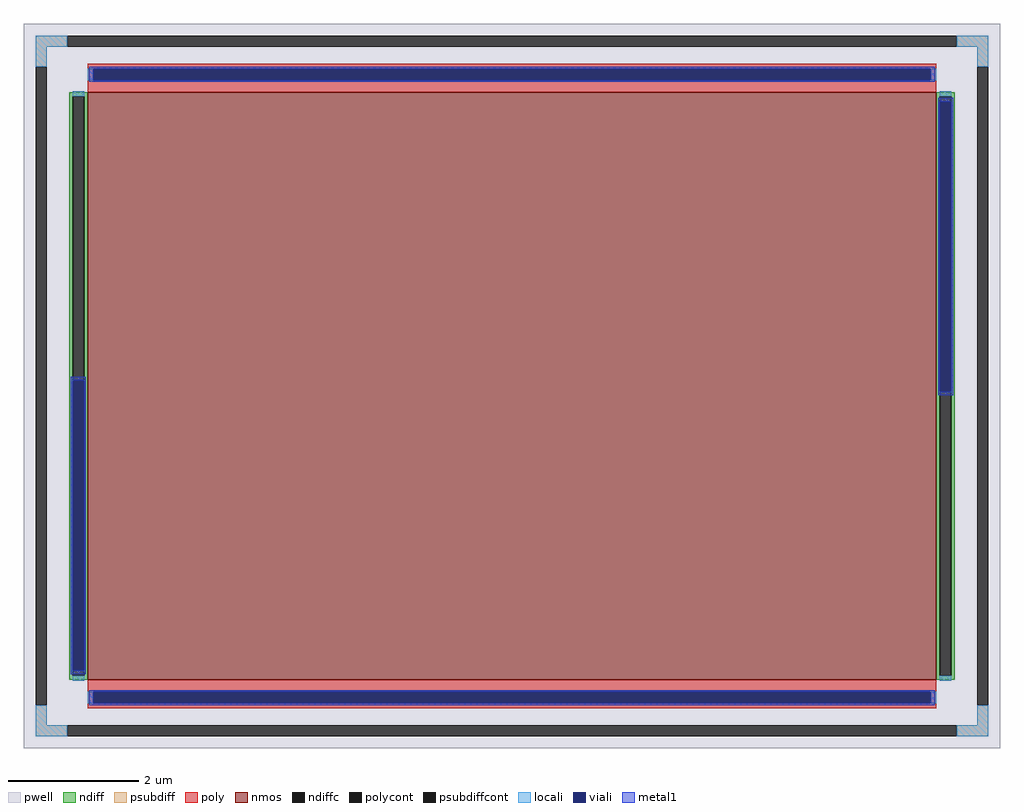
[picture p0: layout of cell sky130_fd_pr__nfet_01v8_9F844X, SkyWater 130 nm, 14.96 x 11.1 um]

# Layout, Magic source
magic
tech sky130A
magscale 1 2
<< pwell >>
rect -1496 -1110 1496 1110
<< nmos >>
rect -1300 -900 1300 900
<< ndiff >>
rect -1358 888 -1300 900
rect -1358 -888 -1346 888
rect -1312 -888 -1300 888
rect -1358 -900 -1300 -888
rect 1300 888 1358 900
rect 1300 -888 1312 888
rect 1346 -888 1358 888
rect 1300 -900 1358 -888
<< ndiffc >>
rect -1346 -888 -1312 888
rect 1312 -888 1346 888
<< psubdiff >>
rect -1460 1040 -1364 1074
rect 1364 1040 1460 1074
rect -1460 978 -1426 1040
rect 1426 978 1460 1040
rect -1460 -1040 -1426 -978
rect 1426 -1040 1460 -978
rect -1460 -1074 -1364 -1040
rect 1364 -1074 1460 -1040
<< psubdiffcont >>
rect -1364 1040 1364 1074
rect -1460 -978 -1426 978
rect 1426 -978 1460 978
rect -1364 -1074 1364 -1040
<< poly >>
rect -1300 972 1300 988
rect -1300 938 -1284 972
rect 1284 938 1300 972
rect -1300 900 1300 938
rect -1300 -938 1300 -900
rect -1300 -972 -1284 -938
rect 1284 -972 1300 -938
rect -1300 -988 1300 -972
<< polycont >>
rect -1284 938 1284 972
rect -1284 -972 1284 -938
<< locali >>
rect -1460 1040 -1364 1074
rect 1364 1040 1460 1074
rect -1460 978 -1426 1040
rect 1426 978 1460 1040
rect -1300 938 -1284 972
rect 1284 938 1300 972
rect -1346 888 -1312 904
rect -1346 -904 -1312 -888
rect 1312 888 1346 904
rect 1312 -904 1346 -888
rect -1300 -972 -1284 -938
rect 1284 -972 1300 -938
rect -1460 -1040 -1426 -978
rect 1426 -1040 1460 -978
rect -1460 -1074 -1364 -1040
rect 1364 -1074 1460 -1040
<< viali >>
rect -1284 938 1284 972
rect -1346 -871 -1312 17
rect 1312 -17 1346 871
rect -1284 -972 1284 -938
<< metal1 >>
rect -1296 972 1296 978
rect -1296 938 -1284 972
rect 1284 938 1296 972
rect -1296 932 1296 938
rect 1306 871 1352 883
rect -1352 17 -1306 29
rect -1352 -871 -1346 17
rect -1312 -871 -1306 17
rect 1306 -17 1312 871
rect 1346 -17 1352 871
rect 1306 -29 1352 -17
rect -1352 -883 -1306 -871
rect -1296 -938 1296 -932
rect -1296 -972 -1284 -938
rect 1284 -972 1296 -938
rect -1296 -978 1296 -972
<< properties >>
string FIXED_BBOX -1443 -1057 1443 1057
string gencell sky130_fd_pr__nfet_01v8
string library sky130
string parameters w 9 l 13 m 1 nf 1 diffcov 100 polycov 100 guard 1 glc 1 grc 1 gtc 1 gbc 1 tbcov 100 rlcov 100 topc 1 botc 1 poverlap 0 doverlap 1 lmin 0.15 wmin 0.42 compatible {sky130_fd_pr__nfet_01v8 sky130_fd_pr__nfet_01v8_lvt  sky130_fd_bs_flash__special_sonosfet_star  sky130_fd_pr__nfet_g5v0d10v5 sky130_fd_pr__nfet_05v0_nvt  sky130_fd_pr__nfet_03v3_nvt} full_metal 1 viasrc -50 viadrn +50 viagate 100 viagb 0 viagr 0 viagl 0 viagt 0
<< end >>
